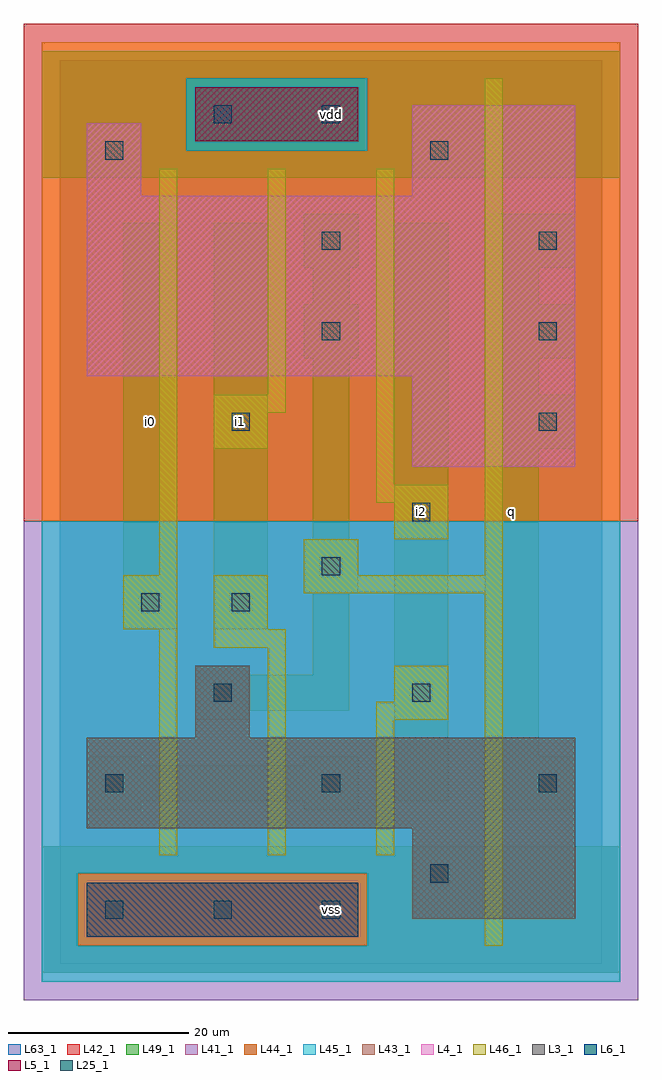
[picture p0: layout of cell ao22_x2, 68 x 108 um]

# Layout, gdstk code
import gdstk
lib = gdstk.Library(unit=1e-6, precision=1e-09)
def R(c, l, rs):  # rectangles x0, y0, x1, y1
    for r in rs: c.add(gdstk.rectangle(r[:2], r[2:], *l))
def A(c, l, x, y, w, h, nx, ny, dx, dy):  # array of equal rectangles
    R(c, l, [(x+i*dx, y+j*dy, x+i*dx+w, y+j*dy+h) for i in range(nx) for j in range(ny)])
L3_1 = (3, 1)
L4_1 = (4, 1)
L5_1 = (5, 1)
L6_1 = (6, 1)
L25_1 = (25, 1)
L41_1 = (41, 1)
L42_1 = (42, 1)
L43_1 = (43, 1)
L44_1 = (44, 1)
L45_1 = (45, 1)
L46_1 = (46, 1)
L49_1 = (49, 1)
L63_1 = (63, 1)

ao22_x2 = lib.new_cell('ao22_x2')
R(ao22_x2, L3_1, [(39,5,57,15), (3,15,57,25), (15,25,21,33)])
R(ao22_x2, L4_1, [(39,55,57,65), (3,65,57,85), (3,85,9,93), (39,85,57,95)])
R(ao22_x2, L5_1, [(15,91,33,97)])
R(ao22_x2, L6_1, [(3,3,33,9)])
A(ao22_x2, L25_1, 5, 5, 2, 2, 3, 1, 12, 0)
A(ao22_x2, L25_1, 5, 19, 2, 2, 3, 1, 24, 0)
A(ao22_x2, L25_1, 53, 59, 2, 2, 1, 3, 0, 10)
R(ao22_x2, L25_1, [(41,9,43,11), (17,29,19,31), (39,29,41,31), (9,39,11,41), (19,39,21,41), (29,43,31,45), (39,49,41,51), (19,59,21,61), (29,69,31,71), (29,79,31,81), (5,89,7,91), (41,89,43,91), (17,93,19,95), (29,93,31,95)])
R(ao22_x2, L41_1, [(-4,-4,64,49)])
R(ao22_x2, L42_1, [(-4,49,64,104)])
R(ao22_x2, L43_1, [(3,3,33,9), (39,5,57,15), (3,15,57,25), (15,25,21,33), (39,55,57,65), (3,65,57,85), (3,85,9,93), (39,85,57,95), (15,91,33,97)])
R(ao22_x2, L44_1, [(2,2,34,10), (-2,49,62,90), (-2,90,14,98), (34,90,62,98), (-2,98,62,102)])
R(ao22_x2, L45_1, [(-2,-2,62,2), (-2,2,2,10), (34,2,62,10), (-2,10,62,49), (14,90,34,98)])
R(ao22_x2, L46_1, [(47,2,49,41), (11,12,13,37), (23,12,25,35), (35,12,37,27), (35,27,43,29), (37,29,43,33), (17,35,25,37), (7,37,13,43), (17,37,23,43), (27,41,49,43), (11,43,13,88), (27,43,33,47), (47,43,49,98), (37,47,43,51), (35,51,43,53), (35,53,37,88), (17,57,23,61), (17,61,25,63), (23,63,25,88)])
A(ao22_x2, L49_1, 47, 57, 10, 6, 1, 3, 0, 10)
R(ao22_x2, L49_1, [(-2,-1,62,13), (3,17,9,18), (27,17,33,18), (47,17,57,23), (3,18,33,22), (37,18,43,82), (3,22,9,23), (27,22,33,23), (47,23,53,57), (15,27,21,28), (15,28,32,32), (15,32,21,33), (28,32,32,41), (7,37,13,82), (17,37,23,82), (27,41,33,47), (28,47,32,67), (47,63,53,67), (27,67,33,73), (28,73,32,77), (47,73,53,77), (27,77,33,83), (-2,87,62,101)])
R(ao22_x2, L63_1, [(0,0,60,100)])
ao22_x2.add(gdstk.Label('i0', (10,60), layer=49, texttype=1))
ao22_x2.add(gdstk.Label('i0', (10,60), layer=49, texttype=1))
ao22_x2.add(gdstk.Label('i1', (20,60), layer=49, texttype=1))
ao22_x2.add(gdstk.Label('i1', (20,60), layer=49, texttype=1))
ao22_x2.add(gdstk.Label('vss', (30,6), layer=49, texttype=1))
ao22_x2.add(gdstk.Label('vss', (30,6), layer=49, texttype=1))
ao22_x2.add(gdstk.Label('i2', (40,50), layer=49, texttype=1))
ao22_x2.add(gdstk.Label('i2', (40,50), layer=49, texttype=1))
ao22_x2.add(gdstk.Label('vdd', (30,94), layer=49, texttype=1))
ao22_x2.add(gdstk.Label('vdd', (30,94), layer=49, texttype=1))
ao22_x2.add(gdstk.Label('q', (50,50), layer=49, texttype=1))
ao22_x2.add(gdstk.Label('q', (50,50), layer=49, texttype=1))

lib.write_gds('ao22_x2.gds')
